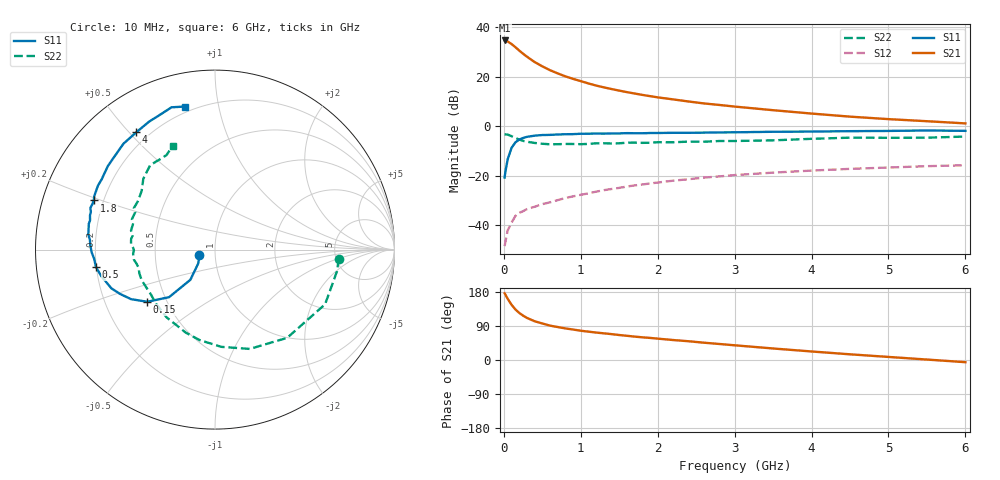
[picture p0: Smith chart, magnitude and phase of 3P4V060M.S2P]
! SIEMENS Discrete & RF Semiconductors
! BFP450
! Si NPN RF SIEGET Grounded Emitter Transistor in SOT343
! VCE = 4 V  IC = 60 mA
! Common Emitter S-Parameters:  February  1998
# GHz  S  MA  R  50
!  f  S11  S21  S12  S22
! GHz  MAG  ANG  MAG  ANG  MAG  ANG  MAG  ANG
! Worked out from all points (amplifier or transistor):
!   36 points, 10 MHz to 6 GHz, reference 50 ohm
!   highest |S21| = 34.8 dB at 10 MHz (marker M1)
!   |S21| within 3 dB of that: start of sweep to 160.3 MHz
!   unconditionally stable (mu >= 1): start of sweep to 24.29 MHz; 1.327 GHz to end of sweep
!   at 250 MHz: K = 0.56, MSG = 31.8 dB, |S12| = -34.2 dB
!   at 1.4 GHz: K = 1.01, MAG = 19.7 dB, |S12| = -25.3 dB
!   at 6 GHz: K = 1.08, MAG = 6.7 dB, |S12| = -15.7 dB
!   lowest NFmin = 1.50 dB at 450 MHz
!   S11 on the Smith chart (normalised r, x): 10 MHz: 0.84, -0.06; 150 MHz: 0.39, -0.29; 500 MHz: 0.20, -0.07; 1.8 GHz: 0.16, +0.19; 4 GHz: 0.15, +0.52; 6 GHz: 0.17, +0.80
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0.01  0.0927 -159.4  54.69 176.1  0.0038 22.4  0.6916 -4.2
0.05  0.2169 -129.2  52.08 161.5  0.0079 49.5  0.6849 -26.4
0.1  0.3685 -134.0  46.31 145.8  0.0113 53.4  0.6352 -50.7
0.15  0.4764 -142.4  39.98 133.5  0.0155 49.3  0.5863 -70.7
0.2  0.5428 -149.4  34.19 124.3  0.0179 48.3  0.5429 -86.3
0.25  0.5839 -155.0  29.5 117.1  0.0194 47.7  0.5112 -99.7
0.3  0.6163 -159.5  25.71 111.1  0.0213 47.1  0.4908 -109.2
0.4  0.6509 -166.9  20.05 102.3  0.0238 48.9  0.464 -125.6
0.5  0.6702 -171.7  16.41 96.4  0.0269 49.1  0.4464 -137.1
0.6  0.6751 -175.6  13.71 90.7  0.0292 50.3  0.4357 -145.1
0.8  0.6954 177.9  10.28 83.3  0.0358 52.2  0.4429 -157.3
0.9  0.6989 175.6  9.148 80.4  0.0386 52.9  0.4416 -162.7
1.1  0.7132 171.0  7.393 74.8  0.0444 53.9  0.4434 -169.5
1.4  0.7221 164.7  5.699 68.3  0.0544 53.6  0.4517 -179.6
1.8  0.7285 157.9  4.342 59.9  0.0671 51.4  0.4656 170.5
2.2  0.7431 151.3  3.522 52.7  0.0801 48.4  0.4787 162.1
2.6  0.7495 144.9  2.92 45.7  0.0924 44.8  0.4908 154.7
3.5  0.78 130.8  2.129 30.4  0.1165 34.8  0.5234 141.3
4  0.7871 123.8  1.821 22.5  0.1281 29.8  0.5618 135.3
4.5  0.8021 117.2  1.577 15.0  0.1389 24.4  0.5931 127.5
5.5  0.8291 107.0  1.275 1.2  0.1573 14.8  0.5919 117.2
6  0.8144 101.9  1.152 -5.8  0.1642 9.9  0.6248 112.0
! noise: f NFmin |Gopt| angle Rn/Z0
0.45  1.5  0.53  -172  0.08
0.9  1.52  0.5  -161  0.1
1.8  1.84  0.61  -150  0.12
2.4  2.02  0.63  -139  0.17
3  2.23  0.66  -133  0.25
4  2.44  0.69  -117  0.52
